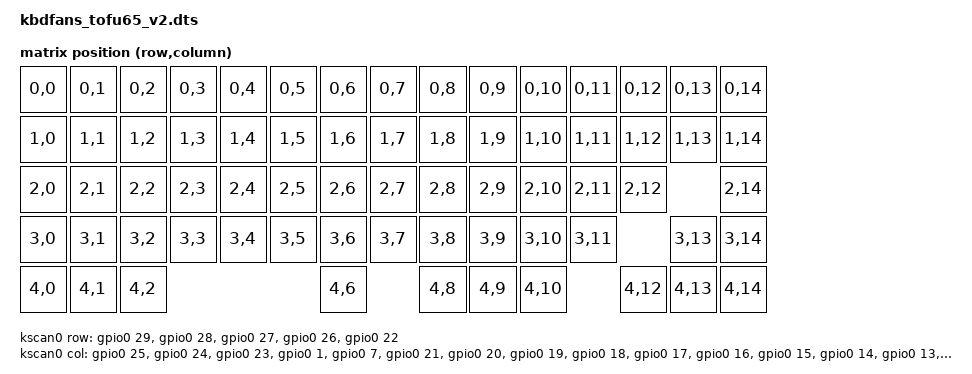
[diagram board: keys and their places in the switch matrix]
/*
 * Copyright (c) 2023 The ZMK Contributors
 * SPDX-License-Identifier: MIT
 */

/dts-v1/;

#include <rpi_pico/rp2040.dtsi>
#include <dt-bindings/zmk/matrix_transform.h>

/ {

    chosen {
        zephyr,sram = &sram0;
        zephyr,flash = &flash0;
        zephyr,console = &cdc_acm_uart;
        zephyr,shell-uart = &cdc_acm_uart;
        zephyr,code-partition = &code_partition;
        zmk,kscan = &kscan0;
        zmk,matrix-transform = &default_transform;
    };

    xtal_clk: xtal-clk {
        compatible = "fixed-clock";
        clock-frequency = <12000000>;
        #clock-cells = <0>;
    };

    default_transform: keymap_transform_0 {
        compatible = "zmk,matrix-transform";
        columns = <15>;
        rows = <5>;

//  ------- Switch Matrix ----------
//
//  Column     0 |   1 |   2 |   3 |   4 |   5 |   6 |   7 |   8 |   9 |  10 |  11 |  12 |  13 |  14 |
//          ==========================================================================================
//  Row 0 ||  S0 |  S1 |  S2 |  S3 |  S4 |  S5 |  S6 |  S7 |  S8 |  S9 | S10 | S11 | S12 | S13 | S14 |
//  Row 1 ||  S0 |  S1 |  S2 |  S3 |  S4 |  S5 |  S6 |  S7 |  S8 |  S9 | S10 | S11 | S12 | S13 | S14 |
//  Row 2 ||  S0 |  S1 |  S2 |  S3 |  S4 |  S5 |  S6 |  S7 |  S8 |  S9 | S10 | S11 | S12 |     | S13 |
//  Row 3 ||  S0 |  S1 |  S2 |  S3 |  S4 |  S5 |  S6 |  S7 |  S8 |  S9 | S10 | S11 |     | S12 | S13 |
//  Row 4 ||  S0 |  S1 |  S2 |     |     |     |  S3 |     |  S4 |  S5 | S6  |     | S7  | S8  | S9  |
//     -----------------------------------------------------------------------------------
//
        map = <
RC(0,0) RC(0,1) RC(0,2) RC(0,3) RC(0,4) RC(0,5) RC(0,6) RC(0,7) RC(0,8) RC(0,9) RC(0,10) RC(0,11) RC(0,12) RC(0,13) RC(0,14)
RC(1,0) RC(1,1) RC(1,2) RC(1,3) RC(1,4) RC(1,5) RC(1,6) RC(1,7) RC(1,8) RC(1,9) RC(1,10) RC(1,11) RC(1,12) RC(1,13) RC(1,14)
RC(2,0) RC(2,1) RC(2,2) RC(2,3) RC(2,4) RC(2,5) RC(2,6) RC(2,7) RC(2,8) RC(2,9) RC(2,10) RC(2,11) RC(2,12)          RC(2,14)
RC(3,0) RC(3,1) RC(3,2) RC(3,3) RC(3,4) RC(3,5) RC(3,6) RC(3,7) RC(3,8) RC(3,9) RC(3,10) RC(3,11)          RC(3,13) RC(3,14)
RC(4,0) RC(4,1) RC(4,2)                         RC(4,6)         RC(4,8) RC(4,9) RC(4,10)          RC(4,12) RC(4,13) RC(4,14)
        >;
    };

    kscan0: kscan {
        compatible = "zmk,kscan-gpio-matrix";

        diode-direction = "col2row";
        row-gpios
            = <&gpio0 29 (GPIO_ACTIVE_HIGH | GPIO_PULL_DOWN)>
            , <&gpio0 28 (GPIO_ACTIVE_HIGH | GPIO_PULL_DOWN)>
            , <&gpio0 27 (GPIO_ACTIVE_HIGH | GPIO_PULL_DOWN)>
            , <&gpio0 26 (GPIO_ACTIVE_HIGH | GPIO_PULL_DOWN)>
            , <&gpio0 22 (GPIO_ACTIVE_HIGH | GPIO_PULL_DOWN)>
            ;
        col-gpios
            = <&gpio0 25 GPIO_ACTIVE_HIGH>
            , <&gpio0 24 GPIO_ACTIVE_HIGH>
            , <&gpio0 23 GPIO_ACTIVE_HIGH>
            , <&gpio0 1  GPIO_ACTIVE_HIGH>
            , <&gpio0 7  GPIO_ACTIVE_HIGH>
            , <&gpio0 21 GPIO_ACTIVE_HIGH>
            , <&gpio0 20 GPIO_ACTIVE_HIGH>
            , <&gpio0 19 GPIO_ACTIVE_HIGH>
            , <&gpio0 18 GPIO_ACTIVE_HIGH>
            , <&gpio0 17 GPIO_ACTIVE_HIGH>
            , <&gpio0 16 GPIO_ACTIVE_HIGH>
            , <&gpio0 15 GPIO_ACTIVE_HIGH>
            , <&gpio0 14 GPIO_ACTIVE_HIGH>
            , <&gpio0 13 GPIO_ACTIVE_HIGH>
            , <&gpio0 12 GPIO_ACTIVE_HIGH>
            ;
    };
};

&flash0 {
    reg = <0x10000000 DT_SIZE_M(16)>;

    partitions {
        compatible = "fixed-partitions";
        #address-cells = <1>;
        #size-cells = <1>;

        /* Reserved memory for the second stage bootloader */
        second_stage_bootloader: partition@0 {
            reg = <0x00000000 0x100>;
            read-only;
        };

        /*
         * Usable flash. Starts at 0x100, after the bootloader. The partition
         * size is 16MB minus the 0x100 bytes taken by the bootloader.
         */
        code_partition: partition@100 {
            reg = <0x100 (DT_SIZE_M(16) - 0x100)>;
            read-only;
        };
    };
};


&usbd {
  status = "okay";
  cdc_acm_uart: cdc_acm_uart {
    compatible = "zephyr,cdc-acm-uart";
  };
};


&gpio0 {
    status = "okay";
};

